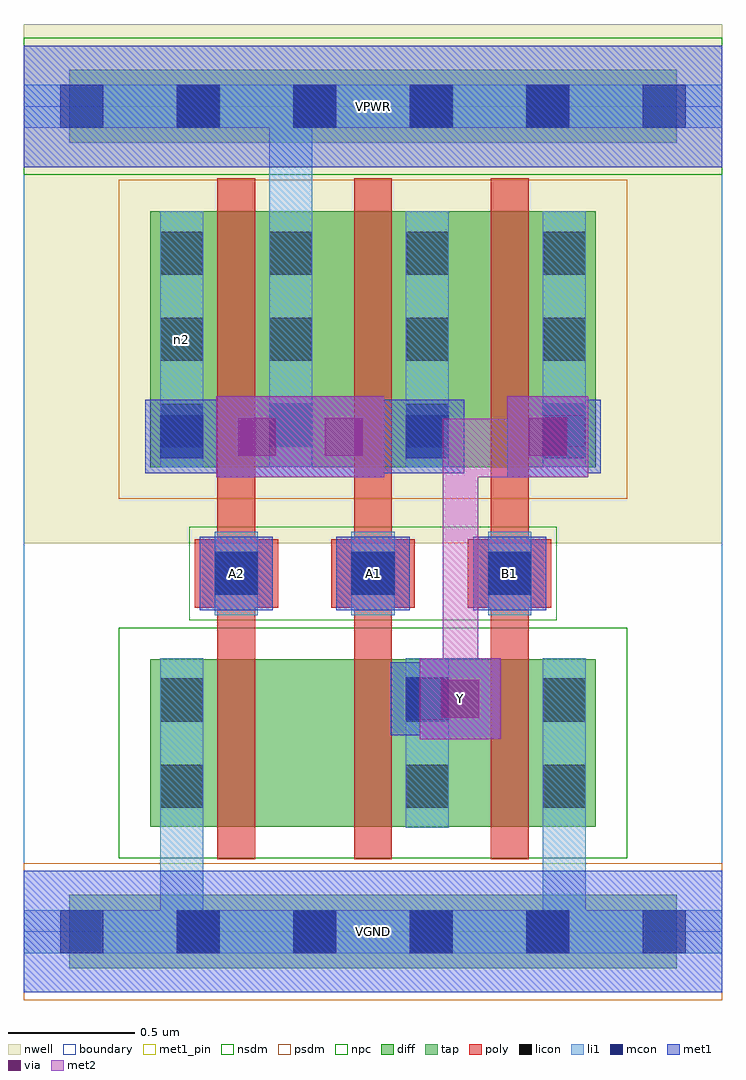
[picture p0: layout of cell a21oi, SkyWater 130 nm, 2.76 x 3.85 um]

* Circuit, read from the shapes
.subckt a21oi A1 A2 B1 VGND VPWR Y n2
XM1 n1 A2 VGND VGND sky130_fd_pr__nfet_01v8 w=0.66 l=0.15
XM2 Y A1 n1 VGND sky130_fd_pr__nfet_01v8 w=0.66 l=0.15
XM3 VGND B1 Y VGND sky130_fd_pr__nfet_01v8 w=0.66 l=0.15
XM4 VPWR A2 n2 VPWR sky130_fd_pr__pfet_01v8 w=1.01 l=0.15
XM5 n2 A1 VPWR VPWR sky130_fd_pr__pfet_01v8 w=1.01 l=0.15
XM6 Y B1 n2 VPWR sky130_fd_pr__pfet_01v8 w=1.01 l=0.15
.ends

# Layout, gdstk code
import gdstk
lib = gdstk.Library(unit=1e-6, precision=1e-09)
def R(c, l, rs):  # rectangles x0, y0, x1, y1
    for r in rs: c.add(gdstk.rectangle(r[:2], r[2:], *l))
def A(c, l, x, y, w, h, nx, ny, dx, dy):  # array of equal rectangles
    R(c, l, [(x+i*dx, y+j*dy, x+i*dx+w, y+j*dy+h) for i in range(nx) for j in range(ny)])
nwell = (64, 20)
diff = (65, 20)
tap = (65, 44)
poly = (66, 20)
licon = (66, 44)
li1 = (67, 20)
mcon = (67, 44)
met1_pin = (68, 16)
met1 = (68, 20)
via = (68, 44)
met2 = (69, 20)
nsdm = (93, 44)
psdm = (94, 20)
npc = (95, 20)
boundary = (235, 4)

a21oi = lib.new_cell('a21oi')
R(a21oi, nwell, [(0,1.535,2.76,3.585)])
R(a21oi, diff, [(0.5,0.415,2.26,1.075), (0.5,1.835,2.26,2.845)])
R(a21oi, tap, [(0.18,-0.145,2.58,0.145), (0.18,3.115,2.58,3.405)])
A(a21oi, poly, 0.765, 0.285, 0.15, 2.69, 3, 1, 0.54, 0)
A(a21oi, poly, 0.675, 1.28, 0.33, 0.27, 3, 1, 0.54, 0)
A(a21oi, licon, 0.605, -0.085, 0.17, 0.17, 4, 2, 0.46, 3.26)
A(a21oi, licon, 0.755, 1.33, 0.17, 0.17, 3, 1, 0.54, 0)
A(a21oi, licon, 0.54, 1.915, 0.17, 0.17, 1, 3, 0, 0.34)
A(a21oi, licon, 0.97, 1.915, 0.17, 0.17, 3, 3, 0.54, 0.34)
R(a21oi, licon, [(0.54,0.49,0.71,0.66), (1.51,0.49,1.68,0.66), (2.05,0.49,2.22,0.66), (0.54,0.83,0.71,1), (1.51,0.83,1.68,1), (2.05,0.83,2.22,1)])
A(a21oi, li1, 0.755, 1.25, 0.17, 0.33, 3, 1, 0.54, 0)
A(a21oi, li1, 0.97, 1.835, 0.17, 1.01, 3, 1, 0.54, 0)
R(a21oi, li1, [(0,-0.085,2.76,0.085), (0.54,-0.085,0.71,1.08), (2.05,-0.085,2.22,1.08), (0.54,0.41,0.71,1.08), (1.51,0.41,1.68,1.08), (2.05,0.41,2.22,1.08), (0.54,1.835,0.71,2.845), (0.97,1.835,1.14,3.345), (0,3.175,2.76,3.345)])
A(a21oi, mcon, 0.145, -0.085, 0.17, 0.17, 6, 2, 0.46, 3.26)
A(a21oi, mcon, 0.755, 1.33, 0.17, 0.17, 3, 1, 0.54, 0)
R(a21oi, mcon, [(1.51,0.835,1.68,1.005), (0.54,1.87,0.71,2.04), (1.51,1.87,1.68,2.04), (2.05,1.87,2.22,2.04)])
A(a21oi, met1_pin, 0.695, 1.27, 0.29, 0.29, 3, 1, 0.54, 0)
R(a21oi, met1_pin, [(0,-0.24,2.76,0.24), (1.565,0.76,1.885,1.08), (0,3.02,2.76,3.5)])
A(a21oi, met1, 0.695, 1.27, 0.29, 0.29, 3, 1, 0.54, 0)
R(a21oi, met1, [(0,-0.24,2.76,0.24), (1.565,0.76,1.885,1.08), (1.45,0.775,1.74,1.065), (1.525,0.85,1.795,0.99), (0.76,1.795,1.08,2.115), (1.08,1.795,1.105,2.115), (1.105,1.795,1.425,2.115), (1.91,1.795,2.23,2.115), (0.48,1.81,0.77,2.1), (1.425,1.81,1.45,2.1), (1.45,1.81,1.74,2.1), (1.99,1.81,2.28,2.1), (0.555,1.885,0.875,2.025), (0.735,1.885,0.99,2.025), (0.99,1.885,1.105,2.025), (1.08,1.885,1.195,2.025), (1.195,1.885,1.565,2.025), (1.425,1.885,1.665,2.025), (2,1.885,2.205,2.025), (0,3.02,2.76,3.5)])
R(a21oi, via, [(1.65,0.845,1.8,0.995), (0.845,1.88,0.995,2.03), (1.19,1.88,1.34,2.03), (1.995,1.88,2.145,2.03)])
R(a21oi, met2, [(1.565,0.76,1.885,1.08), (1.655,0.85,1.795,2.025), (0.76,1.795,1.08,2.115), (1.08,1.795,1.105,2.115), (1.105,1.795,1.425,2.115), (1.795,1.795,1.91,2.025), (1.91,1.795,2.23,2.115), (0.85,1.885,1.335,2.025), (1.655,1.885,2.14,2.025)])
R(a21oi, nsdm, [(0.375,0.29,2.385,1.2), (0,2.99,2.76,3.53)])
R(a21oi, psdm, [(0,-0.27,2.76,0.27), (0.375,1.71,2.385,2.97)])
R(a21oi, npc, [(0.655,1.23,2.105,1.6)])
R(a21oi, boundary, [(0,0,2.76,3.26)])
a21oi.add(gdstk.Label('n2', (0.625,2.34), layer=67, texttype=5))
a21oi.add(gdstk.Label('A1', (1.38,1.415), layer=68, texttype=5))
a21oi.add(gdstk.Label('A2', (0.84,1.415), layer=68, texttype=5))
a21oi.add(gdstk.Label('B1', (1.92,1.415), layer=68, texttype=5))
a21oi.add(gdstk.Label('Y', (1.725,0.92), layer=68, texttype=5))
a21oi.add(gdstk.Label('VPWR', (1.38,3.26), layer=68, texttype=5))
a21oi.add(gdstk.Label('VGND', (1.38,0), layer=68, texttype=5))
a21oi.add(gdstk.Label('A1', (1.38,1.415), layer=68, texttype=16))
a21oi.add(gdstk.Label('A2', (0.84,1.415), layer=68, texttype=16))
a21oi.add(gdstk.Label('B1', (1.92,1.415), layer=68, texttype=16))
a21oi.add(gdstk.Label('Y', (1.725,0.92), layer=68, texttype=16))
a21oi.add(gdstk.Label('VPWR', (1.38,3.26), layer=68, texttype=16))
a21oi.add(gdstk.Label('VGND', (1.38,0), layer=68, texttype=16))

lib.write_gds('a21oi.gds')
